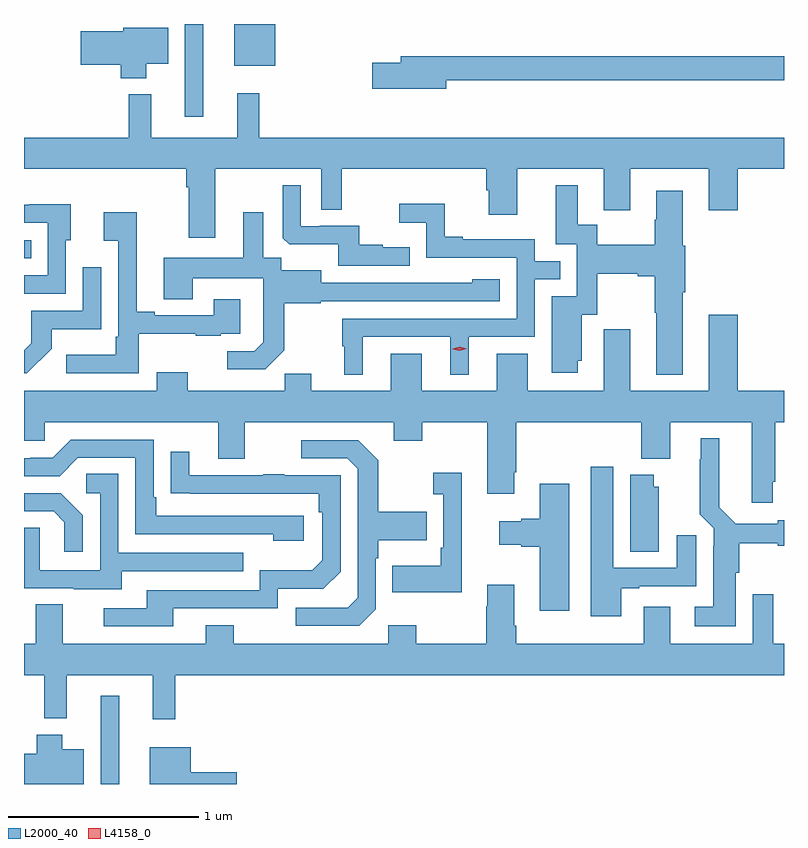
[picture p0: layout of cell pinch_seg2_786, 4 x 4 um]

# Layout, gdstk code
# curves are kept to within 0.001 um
import gdstk
lib = gdstk.Library(unit=1e-6, precision=1e-09)
def R(c, l, rs):  # rectangles x0, y0, x1, y1
    for r in rs: c.add(gdstk.rectangle(r[:2], r[2:], *l))
def P(c, l, *ps):  # polygons
    for p in ps: c.add(gdstk.Polygon(p, *l))
L2000_40 = (2000, 40)
L4158_0 = (4158, 0)

pinch_seg2_786 = lib.new_cell('pinch_seg2_786')
R(pinch_seg2_786, L2000_40, [(640.317,611.099,640.414,611.563), (639.914,613.866,639.953,613.962), (640.761,614.61,640.858,615.099), (641.021,614.879,641.236,615.099)])
P(pinch_seg2_786, L2000_40, [(640.558,614.891),(640.672,614.891),(640.672,615.079),(640.436,615.079),(640.436,615.062),(640.212,615.062),(640.212,614.884),(640.424,614.884),(640.424,614.813),(640.558,614.813)],
  [(642.136,614.802),(643.914,614.802),(643.914,614.93),(641.897,614.93),(641.897,614.894),(641.748,614.894),(641.748,614.759),(642.136,614.759)],
  [(641.153,614.734),(641.036,614.734),(641.036,614.5),(640.583,614.5),(640.583,614.728),(640.465,614.728),(640.465,614.5),(639.914,614.5),(639.914,614.336),(640.769,614.336),(640.769,614.24),(640.781,614.24),(640.781,613.974),(640.921,613.974),(640.921,614.336),(641.478,614.336),(641.478,614.122),(641.587,614.122),(641.587,614.336),(642.347,614.336),(642.347,614.223),(642.359,614.223),(642.359,614.094),(642.511,614.094),(642.511,614.336),(642.965,614.336),(642.965,614.118),(643.105,614.118),(643.105,614.336),(643.517,614.336),(643.517,614.118),(643.67,614.118),(643.67,614.336),(643.914,614.336),(643.914,614.5),(641.153,614.5)],
  [(643.381,613.688),(643.394,613.688),(643.394,613.932),(643.381,613.932),(643.381,614.221),(643.241,614.221),(643.241,614.07),(643.234,614.07),(643.234,613.936),(642.931,613.936),(642.931,614.042),(642.829,614.042),(642.829,614.251),(642.713,614.251),(642.713,613.941),(642.822,613.941),(642.822,613.665),(642.692,613.665),(642.692,613.263),(642.829,613.263),(642.829,613.326),(642.85,613.326),(642.85,613.569),(642.931,613.569),(642.931,613.784),(643.145,613.784),(643.145,613.772),(643.234,613.772),(643.234,613.579),(643.241,613.579),(643.241,613.253),(643.381,613.253)],
  [(641.945,613.924),(641.801,613.924),(641.801,613.936),(641.678,613.936),(641.678,614.037),(641.47,614.037),(641.47,614.034),(641.37,614.034),(641.37,614.251),(641.277,614.251),(641.277,613.971),(641.309,613.94),(641.568,613.94),(641.568,613.827),(641.945,613.827)],
  [(641.698,613.452),(642.158,613.452),(642.158,613.253),(642.256,613.253),(642.256,613.452),(642.603,613.452),(642.603,613.755),(642.737,613.755),(642.737,613.851),(642.603,613.851),(642.603,613.965),(642.223,613.965),(642.223,613.978),(642.129,613.978),(642.129,614.153),(641.889,614.153),(641.889,614.054),(642.03,614.054),(642.03,613.869),(642.507,613.869),(642.507,613.548),(641.589,613.548),(641.589,613.404),(641.6,613.404),(641.6,613.253),(641.698,613.253)],
  [(640.134,613.962),(640.159,613.962),(640.159,614.15),(639.941,614.15),(639.941,614.148),(639.914,614.148),(639.914,614.052),(640.038,614.052),(640.038,613.776),(639.914,613.776),(639.914,613.68),(640.134,613.68)],
  [(640.519,613.469),(640.817,613.469),(640.817,613.458),(640.949,613.458),(640.949,613.47),(641.053,613.47),(641.053,613.651),(640.913,613.651),(640.913,613.566),(640.603,613.566),(640.603,613.585),(640.507,613.585),(640.507,614.107),(640.335,614.107),(640.335,613.958),(640.41,613.958),(640.41,613.453),(640.398,613.453),(640.398,613.357),(640.137,613.357),(640.137,613.26),(640.519,613.26)],
  [(641.283,613.383),(641.283,613.629),(641.475,613.629),(641.475,613.641),(642.418,613.641),(642.418,613.756),(642.273,613.756),(642.273,613.738),(641.479,613.737),(641.479,613.804),(641.268,613.804),(641.268,613.868),(641.173,613.868),(641.173,614.107),(641.069,614.107),(641.069,613.87),(640.649,613.87),(640.649,613.651),(640.801,613.651),(640.801,613.76),(641.172,613.76),(641.172,613.519),(641.174,613.519),(641.174,613.424),(641.127,613.377),(640.983,613.377),(640.983,613.283),(641.183,613.283)],
  [(640.059,613.391),(640.059,613.493),(640.32,613.493),(640.32,613.819),(640.224,613.819),(640.224,613.59),(639.951,613.59),(639.951,613.419),(639.914,613.382),(639.914,613.26),(639.928,613.26)],
  [(643.855,612.691),(643.868,612.691),(643.868,613.004),(643.914,613.004),(643.914,613.168),(643.67,613.168),(643.67,613.57),(643.517,613.57),(643.517,613.168),(643.105,613.168),(643.105,613.492),(642.965,613.492),(642.965,613.168),(642.565,613.168),(642.565,613.363),(642.401,613.363),(642.401,613.168),(642.007,613.168),(642.007,613.363),(641.843,613.363),(641.843,613.168),(641.425,613.168),(641.425,613.259),(641.287,613.259),(641.287,613.168),(640.777,613.168),(640.777,613.267),(640.613,613.267),(640.613,613.168),(639.914,613.168),(639.914,612.906),(640.023,612.906),(640.023,613.004),(640.937,613.004),(640.937,612.81),(641.077,612.81),(641.077,613.004),(641.861,613.004),(641.861,612.905),(642.009,612.905),(642.009,613.004),(642.353,613.004),(642.353,612.627),(642.493,612.627),(642.493,612.739),(642.506,612.739),(642.506,613.004),(643.163,613.004),(643.163,612.812),(643.315,612.812),(643.315,613.004),(643.745,613.004),(643.745,612.579),(643.855,612.579)],
  [(643.66,612.21),(643.678,612.21),(643.678,612.367),(643.88,612.367),(643.88,612.352),(643.914,612.352),(643.914,612.488),(643.88,612.488),(643.88,612.468),(643.66,612.468),(643.573,612.556),(643.573,612.919),(643.475,612.919),(643.475,612.809),(643.471,612.809),(643.471,612.518),(643.545,612.444),(643.545,612.35),(643.541,612.35),(643.541,612.031),(643.443,612.031),(643.443,611.93),(643.66,611.93)],
  [(641.386,612.51),(640.609,612.51),(640.609,612.607),(640.596,612.607),(640.596,612.912),(640.161,612.912),(640.065,612.816),(639.947,612.816),(639.947,612.813),(639.914,612.813),(639.914,612.72),(640.101,612.72),(640.197,612.816),(640.5,612.816),(640.5,612.414),(641.225,612.414),(641.225,612.38),(641.386,612.38)],
  [(641.766,612.018),(641.766,612.287),(641.779,612.287),(641.779,612.383),(642.035,612.383),(642.035,612.531),(641.779,612.531),(641.779,612.803),(641.673,612.909),(641.373,612.909),(641.373,612.813),(641.616,612.813),(641.67,612.759),(641.67,612.078),(641.619,612.027),(641.343,612.027),(641.343,611.931),(641.679,611.931)],
  [(640.699,612.024),(641.25,612.024),(641.25,612.126),(641.49,612.126),(641.58,612.216),(641.58,612.723),(641.285,612.723),(641.285,612.728),(641.173,612.728),(641.173,612.723),(640.783,612.723),(640.783,612.847),(640.687,612.847),(640.687,612.628),(641.464,612.627),(641.464,612.53),(641.484,612.53),(641.484,612.276),(641.431,612.223),(641.154,612.223),(641.154,612.12),(640.559,612.12),(640.559,612.024),(640.335,612.024),(640.335,611.928),(640.699,611.928)],
  [(643.057,612.129),(643.153,612.129),(643.153,612.141),(643.453,612.141),(643.453,612.409),(643.349,612.409),(643.349,612.237),(643.015,612.237),(643.015,612.769),(642.896,612.769),(642.896,611.982),(643.057,611.982)],
  [(642.218,612.736),(642.069,612.736),(642.069,612.623),(642.12,612.623),(642.12,612.343),(642.108,612.343),(642.108,612.247),(641.851,612.247),(641.851,612.107),(642.218,612.107)],
  [(640.429,612.219),(641.069,612.219),(641.069,612.315),(640.41,612.315),(640.41,612.731),(640.242,612.731),(640.242,612.63),(640.314,612.63),(640.314,612.225),(639.996,612.225),(639.996,612.449),(639.914,612.449),(639.914,612.129),(640.175,612.129),(640.175,612.125),(640.429,612.125)],
  [(643.255,612.663),(643.228,612.663),(643.228,612.727),(643.106,612.727),(643.106,612.322),(643.255,612.322)],
  [(642.784,612.679),(642.629,612.679),(642.629,612.494),(642.53,612.494),(642.53,612.481),(642.414,612.481),(642.414,612.359),(642.53,612.359),(642.53,612.347),(642.629,612.347),(642.629,612.012),(642.784,612.012)],
  [(640.224,612.514),(640.108,612.63),(639.914,612.63),(639.914,612.534),(640.07,612.534),(640.127,612.477),(640.127,612.321),(640.224,612.321)],
  [(640.709,611.672),(643.914,611.672),(643.914,611.836),(643.858,611.836),(643.858,612.097),(643.749,612.097),(643.749,611.836),(643.315,611.836),(643.315,612.031),(643.175,612.031),(643.175,611.836),(642.506,611.836),(642.506,611.932),(642.493,611.932),(642.493,612.148),(642.353,612.148),(642.353,612.035),(642.346,612.035),(642.346,611.836),(641.979,611.836),(641.979,611.935),(641.832,611.935),(641.832,611.836),(641.019,611.836),(641.019,611.935),(640.871,611.935),(640.871,611.836),(640.117,611.836),(640.117,612.044),(639.977,612.044),(639.977,611.836),(639.914,611.836),(639.914,611.672),(640.021,611.672),(640.021,611.444),(640.139,611.444),(640.139,611.672),(640.592,611.672),(640.592,611.439),(640.709,611.439)],
  [(640.228,611.281),(640.114,611.281),(640.114,611.359),(639.98,611.359),(639.98,611.259),(639.914,611.259),(639.914,611.099),(640.228,611.099)],
  [(641.035,611.162),(640.792,611.162),(640.792,611.293),(640.577,611.293),(640.577,611.099),(641.035,611.099)])
P(pinch_seg2_786, L4158_0, [(642.207,613.38),(642.171,613.388),(642.171,613.388),(642.171,613.389),(642.207,613.4),(642.243,613.391),(642.243,613.391),(642.243,613.39)])

lib.write_gds('pinch_seg2_786.gds')
